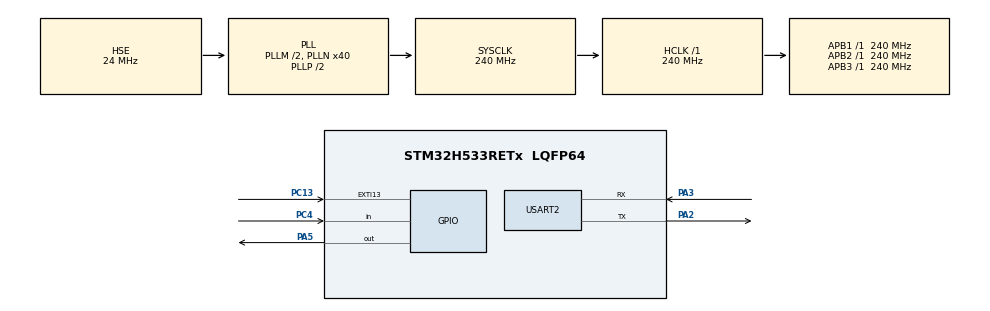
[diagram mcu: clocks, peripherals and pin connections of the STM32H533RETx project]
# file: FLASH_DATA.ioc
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BOOTPATH.BootPathName=LEGACY
BOOTPATH.UserSelectedBootPath=LEGACY
CORTEX_M33_NS.userName=CORTEX_M33
Mcu.Family=STM32H5
Mcu.Name=STM32H533RETx
Mcu.Package=LQFP64
NVIC.PriorityGroup=NVIC_PRIORITYGROUP_4
NVIC.USART2_IRQn=true\:0\:0\:false\:false\:true\:true\:true\:true
PA13(JTMS/SWDIO).GPIO_Label=SWDIO
PA13(JTMS/SWDIO).Signal=DEBUG_JTMS-SWDIO
PA14(JTCK/SWCLK).GPIO_Label=SWCLK
PA14(JTCK/SWCLK).Signal=DEBUG_JTCK-SWCLK
PA15(JTDI).GPIO_Label=JTDI
PA15(JTDI).Signal=DEBUG_JTDI
PA2.Mode=Asynchronous
PA2.Signal=USART2_TX
PA3.Mode=Asynchronous
PA3.Signal=USART2_RX
PA5.Signal=GPIO_Output
PB3(JTDO/TRACESWO).GPIO_Label=SWO
PB3(JTDO/TRACESWO).Signal=DEBUG_JTDO-SWO
PC13.Signal=GPXTI13
PC4.Signal=GPIO_Input
PH0-OSC_IN(PH0).Mode=HSE-External-Oscillator
PH0-OSC_IN(PH0).Signal=RCC_OSC_IN
PH1-OSC_OUT(PH1).Mode=HSE-External-Oscillator
PH1-OSC_OUT(PH1).Signal=RCC_OSC_OUT
ProjectManager.HeapSize=0x200
ProjectManager.StackSize=0x400
ProjectManager.TargetToolchain=STM32CubeIDE
RCC.ADCFreq_Value=240000000
RCC.AHBFreq_Value=240000000
RCC.APB1Freq_Value=240000000
RCC.APB1TimFreq_Value=240000000
RCC.APB2Freq_Value=240000000
RCC.APB2TimFreq_Value=240000000
RCC.APB3Freq_Value=240000000
RCC.CSI_VALUE=4000000
RCC.CortexFreq_Value=240000000
RCC.EPOD_VALUE=24000000
RCC.HCLKFreq_Value=240000000
RCC.HSE_VALUE=24000000
RCC.HSI48_VALUE=48000000
RCC.HSI_VALUE=64000000
RCC.LSE_VALUE=32768
RCC.LSIRC_VALUE=32000
RCC.PLLM=2
RCC.PLLN=40
RCC.PLLSourceVirtual=RCC_PLL1_SOURCE_HSE
RCC.SYSCLKFreq_VALUE=240000000
RCC.SYSCLKSource=RCC_SYSCLKSOURCE_PLLCLK
RCC.USBFreq_Value=48000000
RCC.VCOOutputFreq_Value=480000000
USART2.VirtualMode-Asynchronous=VM_ASYNC
VP_BOOTPATH_VS_BOOTPATH.Mode=BP_Activate
VP_CORTEX_M33_NS_VS_Hclk.Mode=Hclk_Mode
VP_MEMORYMAP_VS_MEMORYMAP.Mode=CurAppReg
VP_PWR_VS_LPOM.Mode=PowerOptimisation
VP_PWR_VS_SECSignals.Mode=Security/Privilege
board=NUCLEO-H533RE

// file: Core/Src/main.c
/* USER CODE BEGIN Header */
/**
  ******************************************************************************
  * @file           : main.c
  * @brief          : Main program body
  ******************************************************************************
  * @attention
  *
  * Copyright (c) 2025 STMicroelectronics.
  * All rights reserved.
  *
  * This software is licensed under terms that can be found in the LICENSE file
  * in the root directory of this software component.
  * If no LICENSE file comes with this software, it is provided AS-IS.
  *
  ******************************************************************************
  */
/* USER CODE END Header */
#include "main.h"

/* USER CODE BEGIN Includes */
#include <string.h>
/* USER CODE END Includes */

/* USER CODE BEGIN PD */
uint8_t temp[16] __attribute__((aligned(8)));
/* USER CODE END PD */

UART_HandleTypeDef huart2;

void SystemClock_Config(void);
static void MX_GPIO_Init(void);
static void MX_USART2_UART_Init(void);

/* USER CODE BEGIN 0 */
uint8_t len;
uint8_t received_length = 0;
uint8_t rx_buffer[250];
uint8_t rx_status = 0;

HAL_StatusTypeDef write_data_to_flash(uint8_t *data, uint16_t length)
{
    HAL_StatusTypeDef status;
    uint32_t flash_address = 0x0807B000;

    uint8_t temp[16] __attribute__((aligned(8)));

    HAL_FLASH_Unlock();

    FLASH_EraseInitTypeDef Erase;
    uint32_t SectorError = 0;

    if (flash_address < 0x08040000) {
        Erase.Banks = FLASH_BANK_1;
        Erase.Sector = (flash_address - 0x08000000) / 0x2000;
    } else {
        Erase.Banks = FLASH_BANK_2;
        Erase.Sector = (flash_address - 0x08040000) / 0x2000;
    }
    Erase.TypeErase  = FLASH_TYPEERASE_SECTORS;
    Erase.NbSectors  = 1;

    status = HAL_FLASHEx_Erase(&Erase, &SectorError);
    if (status != HAL_OK)
    {
        HAL_FLASH_Lock();
        return status;
    }

    for (uint32_t i = 0; i < length; i += 16)
    {
        uint32_t remaining = length - i;
        for (uint32_t j = 0; j < 16; j++)
            temp[j] = (j < remaining) ? data[i + j] : 0xFF;

        status = HAL_FLASH_Program(FLASH_TYPEPROGRAM_QUADWORD, flash_address, (uint32_t)temp);
        if (status != HAL_OK) break;

        flash_address += 16;
        if (flash_address >= 0x08080000) { status = HAL_ERROR; break; } // stay within flash range
    }

    HAL_FLASH_Lock();
    return status;
}

/* USER CODE END 0 */

int main(void)
{

  /* MCU Configuration--------------------------------------------------------*/

  /* Reset of all peripherals, Initializes the Flash interface and the Systick. */
  HAL_Init();

  /* Configure the system clock */
  SystemClock_Config();

  /* Initialize all configured peripherals */
  MX_GPIO_Init();
  MX_USART2_UART_Init();
  /* USER CODE BEGIN 2 */
  HAL_UART_Receive_IT(&huart2, &len, 1);
  /* USER CODE END 2 */

  /* Infinite loop */
  while (1)
  {

  }
}

void SystemClock_Config(void)
{
  RCC_OscInitTypeDef RCC_OscInitStruct = {0};
  RCC_ClkInitTypeDef RCC_ClkInitStruct = {0};

  /** Configure the main internal regulator output voltage
  */
  __HAL_PWR_VOLTAGESCALING_CONFIG(PWR_REGULATOR_VOLTAGE_SCALE0);

  while(!__HAL_PWR_GET_FLAG(PWR_FLAG_VOSRDY)) {}

  /** Initializes the RCC Oscillators according to the specified parameters
  * in the RCC_OscInitTypeDef structure.
  */
  RCC_OscInitStruct.OscillatorType = RCC_OSCILLATORTYPE_HSE;
  RCC_OscInitStruct.HSEState = RCC_HSE_ON;
  RCC_OscInitStruct.PLL.PLLState = RCC_PLL_ON;
  RCC_OscInitStruct.PLL.PLLSource = RCC_PLL1_SOURCE_HSE;
  RCC_OscInitStruct.PLL.PLLM = 2;
  RCC_OscInitStruct.PLL.PLLN = 40;
  RCC_OscInitStruct.PLL.PLLP = 2;
  RCC_OscInitStruct.PLL.PLLQ = 2;
  RCC_OscInitStruct.PLL.PLLR = 2;
  RCC_OscInitStruct.PLL.PLLRGE = RCC_PLL1_VCIRANGE_3;
  RCC_OscInitStruct.PLL.PLLVCOSEL = RCC_PLL1_VCORANGE_WIDE;
  RCC_OscInitStruct.PLL.PLLFRACN = 0;
  if (HAL_RCC_OscConfig(&RCC_OscInitStruct) != HAL_OK)
  {
    Error_Handler();
  }

  /** Initializes the CPU, AHB and APB buses clocks
  */
  RCC_ClkInitStruct.ClockType = RCC_CLOCKTYPE_HCLK|RCC_CLOCKTYPE_SYSCLK
                              |RCC_CLOCKTYPE_PCLK1|RCC_CLOCKTYPE_PCLK2
                              |RCC_CLOCKTYPE_PCLK3;
  RCC_ClkInitStruct.SYSCLKSource = RCC_SYSCLKSOURCE_PLLCLK;
  RCC_ClkInitStruct.AHBCLKDivider = RCC_SYSCLK_DIV1;
  RCC_ClkInitStruct.APB1CLKDivider = RCC_HCLK_DIV1;
  RCC_ClkInitStruct.APB2CLKDivider = RCC_HCLK_DIV1;
  RCC_ClkInitStruct.APB3CLKDivider = RCC_HCLK_DIV1;

  if (HAL_RCC_ClockConfig(&RCC_ClkInitStruct, FLASH_LATENCY_5) != HAL_OK)
  {
    Error_Handler();
  }

  /** Configure the programming delay
  */
  __HAL_FLASH_SET_PROGRAM_DELAY(FLASH_PROGRAMMING_DELAY_2);
}

static void MX_USART2_UART_Init(void)
{

  huart2.Instance = USART2;
  huart2.Init.BaudRate = 115200;
  huart2.Init.WordLength = UART_WORDLENGTH_8B;
  huart2.Init.StopBits = UART_STOPBITS_1;
  huart2.Init.Parity = UART_PARITY_NONE;
  huart2.Init.Mode = UART_MODE_TX_RX;
  huart2.Init.HwFlowCtl = UART_HWCONTROL_NONE;
  huart2.Init.OverSampling = UART_OVERSAMPLING_16;
  huart2.Init.OneBitSampling = UART_ONE_BIT_SAMPLE_DISABLE;
  huart2.Init.ClockPrescaler = UART_PRESCALER_DIV1;
  huart2.AdvancedInit.AdvFeatureInit = UART_ADVFEATURE_NO_INIT;
  if (HAL_UART_Init(&huart2) != HAL_OK)
  {
    Error_Handler();
  }
  if (HAL_UARTEx_SetTxFifoThreshold(&huart2, UART_TXFIFO_THRESHOLD_1_8) != HAL_OK)
  {
    Error_Handler();
  }
  if (HAL_UARTEx_SetRxFifoThreshold(&huart2, UART_RXFIFO_THRESHOLD_1_8) != HAL_OK)
  {
    Error_Handler();
  }
  if (HAL_UARTEx_DisableFifoMode(&huart2) != HAL_OK)
  {
    Error_Handler();
  }

}

static void MX_GPIO_Init(void)
{
  GPIO_InitTypeDef GPIO_InitStruct = {0};

  /* GPIO Ports Clock Enable */
  __HAL_RCC_GPIOC_CLK_ENABLE();
  __HAL_RCC_GPIOH_CLK_ENABLE();
  __HAL_RCC_GPIOA_CLK_ENABLE();
  __HAL_RCC_GPIOB_CLK_ENABLE();

  /*Configure GPIO pin Output Level */
  HAL_GPIO_WritePin(GPIOA, GPIO_PIN_5, GPIO_PIN_RESET);

  /*Configure GPIO pin : PC13 */
  GPIO_InitStruct.Pin = GPIO_PIN_13;
  GPIO_InitStruct.Mode = GPIO_MODE_IT_RISING;
  GPIO_InitStruct.Pull = GPIO_NOPULL;
  HAL_GPIO_Init(GPIOC, &GPIO_InitStruct);

  /*Configure GPIO pin : PA5 */
  GPIO_InitStruct.Pin = GPIO_PIN_5;
  GPIO_InitStruct.Mode = GPIO_MODE_OUTPUT_PP;
  GPIO_InitStruct.Pull = GPIO_NOPULL;
  GPIO_InitStruct.Speed = GPIO_SPEED_FREQ_LOW;
  HAL_GPIO_Init(GPIOA, &GPIO_InitStruct);

  /*Configure GPIO pin : PC4 */
  GPIO_InitStruct.Pin = GPIO_PIN_4;
  GPIO_InitStruct.Mode = GPIO_MODE_INPUT;
  GPIO_InitStruct.Pull = GPIO_NOPULL;
  HAL_GPIO_Init(GPIOC, &GPIO_InitStruct);

}

/* USER CODE BEGIN 4 */
void HAL_UART_RxCpltCallback(UART_HandleTypeDef *huart)
{
	HAL_StatusTypeDef status;
	/*if Rx_status equal to zero means length data is received*/
	if(rx_status == 0)
	{
		/*Change rx_status to one to receive data*/
		rx_status = 1;
		received_length = len;
		/*Configure to receive the buffer*/
		HAL_UART_Receive_IT(&huart2, rx_buffer, received_length);
	}
	else if(rx_status == 1)
	{
		/*Write data to flash*/
		status = write_data_to_flash(rx_buffer, received_length);
		/*if data written is successful, send ACK*/
		if(status == HAL_OK)
		{
			const uint8_t ack[] = { 0xAA };
			HAL_UART_Transmit(&huart2, (uint8_t*) ack, sizeof(ack), 100);
		}
		rx_status = 0;
		HAL_UART_Receive_IT(&huart2, &len, 1);

	}
}

/* USER CODE END 4 */

void Error_Handler(void)
{
  __disable_irq();
  while (1)
  {
  }
}
